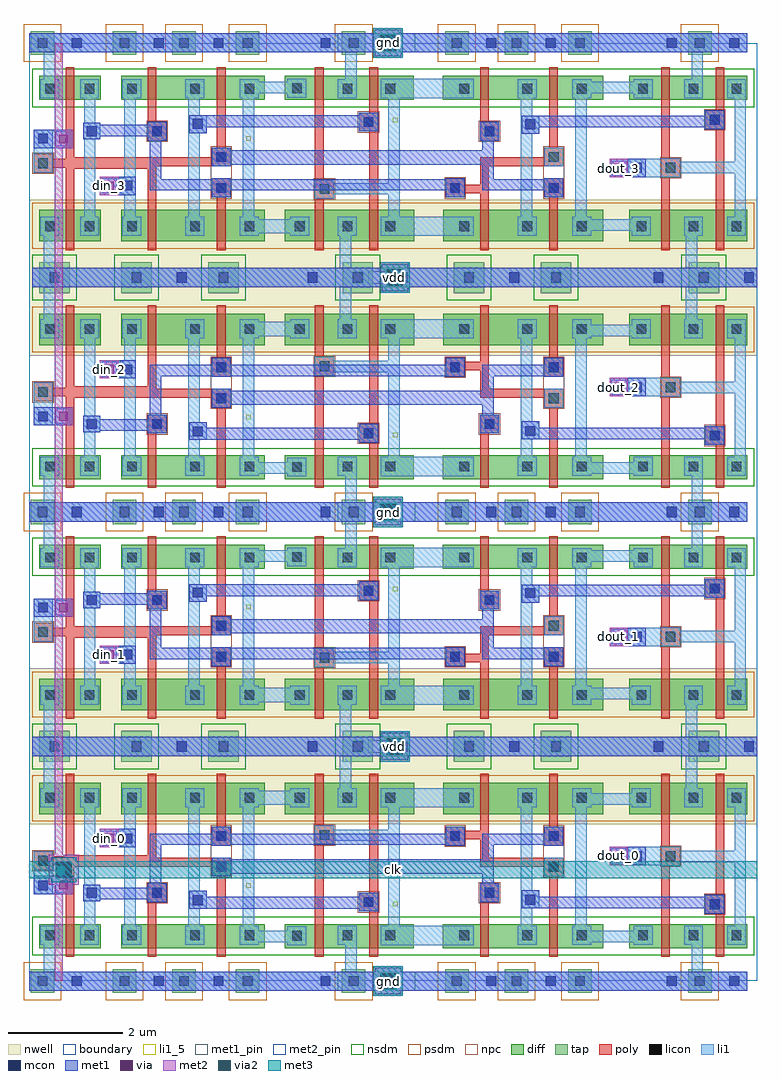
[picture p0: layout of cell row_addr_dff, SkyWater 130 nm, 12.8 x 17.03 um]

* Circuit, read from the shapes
.subckt row_addr_dff clk din_0 din_1 din_2 din_3 dout_0 dout_1 dout_2 dout_3 gnd vdd
XM1 dff_0/clkb clk gnd gnd sky130_fd_pr__nfet_01v8 w=0.42 l=0.15
XM2 dff_1/clkb clk gnd gnd sky130_fd_pr__nfet_01v8 w=0.42 l=0.15
XM3 dff_2/clkb clk gnd gnd sky130_fd_pr__nfet_01v8 w=0.42 l=0.15
XM4 dff_3/clkb clk gnd gnd sky130_fd_pr__nfet_01v8 w=0.42 l=0.15
XM5 dff_0/net1 dff_0/clkb din_0 gnd sky130_fd_pr__nfet_01v8 w=0.42 l=0.15
XM6 dff_1/net1 dff_1/clkb din_1 gnd sky130_fd_pr__nfet_01v8 w=0.42 l=0.15
XM7 dff_2/net1 dff_2/clkb din_2 gnd sky130_fd_pr__nfet_01v8 w=0.42 l=0.15
XM8 dff_3/net1 dff_3/clkb din_3 gnd sky130_fd_pr__nfet_01v8 w=0.42 l=0.15
XM9 dff_0/net2 clk dff_0/net1 gnd sky130_fd_pr__nfet_01v8 w=0.42 l=0.15
XM10 dff_1/net2 clk dff_1/net1 gnd sky130_fd_pr__nfet_01v8 w=0.42 l=0.15
XM11 dff_2/net2 clk dff_2/net1 gnd sky130_fd_pr__nfet_01v8 w=0.42 l=0.15
XM12 dff_3/net2 clk dff_3/net1 gnd sky130_fd_pr__nfet_01v8 w=0.42 l=0.15
XM13 gnd dff_0/net3 dff_0/net2 gnd sky130_fd_pr__nfet_01v8 w=0.42 l=0.15
XM14 gnd dff_1/net3 dff_1/net2 gnd sky130_fd_pr__nfet_01v8 w=0.42 l=0.15
XM15 gnd dff_2/net3 dff_2/net2 gnd sky130_fd_pr__nfet_01v8 w=0.42 l=0.15
XM16 gnd dff_3/net3 dff_3/net2 gnd sky130_fd_pr__nfet_01v8 w=0.42 l=0.15
XM17 dff_0/net3 dff_0/net1 gnd gnd sky130_fd_pr__nfet_01v8 w=0.42 l=0.15
XM18 dff_1/net3 dff_1/net1 gnd gnd sky130_fd_pr__nfet_01v8 w=0.42 l=0.15
XM19 dff_2/net3 dff_2/net1 gnd gnd sky130_fd_pr__nfet_01v8 w=0.42 l=0.15
XM20 dff_3/net3 dff_3/net1 gnd gnd sky130_fd_pr__nfet_01v8 w=0.42 l=0.15
XM21 dff_0/net4 clk dff_0/net3 gnd sky130_fd_pr__nfet_01v8 w=0.42 l=0.15
XM22 dff_1/net4 clk dff_1/net3 gnd sky130_fd_pr__nfet_01v8 w=0.42 l=0.15
XM23 dff_2/net4 clk dff_2/net3 gnd sky130_fd_pr__nfet_01v8 w=0.42 l=0.15
XM24 dff_3/net4 clk dff_3/net3 gnd sky130_fd_pr__nfet_01v8 w=0.42 l=0.15
XM25 dff_0/net5 dff_0/clkb dff_0/net4 gnd sky130_fd_pr__nfet_01v8 w=0.42 l=0.15
XM26 dff_1/net5 dff_1/clkb dff_1/net4 gnd sky130_fd_pr__nfet_01v8 w=0.42 l=0.15
XM27 dff_2/net5 dff_2/clkb dff_2/net4 gnd sky130_fd_pr__nfet_01v8 w=0.42 l=0.15
XM28 dff_3/net5 dff_3/clkb dff_3/net4 gnd sky130_fd_pr__nfet_01v8 w=0.42 l=0.15
XM29 gnd dout_0 dff_0/net5 gnd sky130_fd_pr__nfet_01v8 w=0.42 l=0.15
XM30 gnd dout_1 dff_1/net5 gnd sky130_fd_pr__nfet_01v8 w=0.42 l=0.15
XM31 gnd dout_2 dff_2/net5 gnd sky130_fd_pr__nfet_01v8 w=0.42 l=0.15
XM32 gnd dout_3 dff_3/net5 gnd sky130_fd_pr__nfet_01v8 w=0.42 l=0.15
XM33 dout_0 dff_0/net4 gnd gnd sky130_fd_pr__nfet_01v8 w=0.42 l=0.15
XM34 dout_1 dff_1/net4 gnd gnd sky130_fd_pr__nfet_01v8 w=0.42 l=0.15
XM35 dout_2 dff_2/net4 gnd gnd sky130_fd_pr__nfet_01v8 w=0.42 l=0.15
XM36 dout_3 dff_3/net4 gnd gnd sky130_fd_pr__nfet_01v8 w=0.42 l=0.15
XM37 dff_0/clkb clk vdd vdd sky130_fd_pr__pfet_01v8 w=0.55 l=0.15
XM38 dff_1/clkb clk vdd vdd sky130_fd_pr__pfet_01v8 w=0.55 l=0.15
XM39 dff_2/clkb clk vdd vdd sky130_fd_pr__pfet_01v8 w=0.55 l=0.15
XM40 dff_3/clkb clk vdd vdd sky130_fd_pr__pfet_01v8 w=0.55 l=0.15
XM41 dff_0/net1 clk din_0 vdd sky130_fd_pr__pfet_01v8 w=0.55 l=0.15
XM42 dff_1/net1 clk din_1 vdd sky130_fd_pr__pfet_01v8 w=0.55 l=0.15
XM43 dff_2/net1 clk din_2 vdd sky130_fd_pr__pfet_01v8 w=0.55 l=0.15
XM44 dff_3/net1 clk din_3 vdd sky130_fd_pr__pfet_01v8 w=0.55 l=0.15
XM45 dff_0/net2 dff_0/clkb dff_0/net1 vdd sky130_fd_pr__pfet_01v8 w=0.55 l=0.15
XM46 dff_1/net2 dff_1/clkb dff_1/net1 vdd sky130_fd_pr__pfet_01v8 w=0.55 l=0.15
XM47 dff_2/net2 dff_2/clkb dff_2/net1 vdd sky130_fd_pr__pfet_01v8 w=0.55 l=0.15
XM48 dff_3/net2 dff_3/clkb dff_3/net1 vdd sky130_fd_pr__pfet_01v8 w=0.55 l=0.15
XM49 vdd dff_0/net3 dff_0/net2 vdd sky130_fd_pr__pfet_01v8 w=0.55 l=0.15
XM50 vdd dff_1/net3 dff_1/net2 vdd sky130_fd_pr__pfet_01v8 w=0.55 l=0.15
XM51 vdd dff_2/net3 dff_2/net2 vdd sky130_fd_pr__pfet_01v8 w=0.55 l=0.15
XM52 vdd dff_3/net3 dff_3/net2 vdd sky130_fd_pr__pfet_01v8 w=0.55 l=0.15
XM53 dff_0/net3 dff_0/net1 vdd vdd sky130_fd_pr__pfet_01v8 w=0.55 l=0.15
XM54 dff_1/net3 dff_1/net1 vdd vdd sky130_fd_pr__pfet_01v8 w=0.55 l=0.15
XM55 dff_2/net3 dff_2/net1 vdd vdd sky130_fd_pr__pfet_01v8 w=0.55 l=0.15
XM56 dff_3/net3 dff_3/net1 vdd vdd sky130_fd_pr__pfet_01v8 w=0.55 l=0.15
XM57 dff_0/net4 dff_0/clkb dff_0/net3 vdd sky130_fd_pr__pfet_01v8 w=0.55 l=0.15
XM58 dff_1/net4 dff_1/clkb dff_1/net3 vdd sky130_fd_pr__pfet_01v8 w=0.55 l=0.15
XM59 dff_2/net4 dff_2/clkb dff_2/net3 vdd sky130_fd_pr__pfet_01v8 w=0.55 l=0.15
XM60 dff_3/net4 dff_3/clkb dff_3/net3 vdd sky130_fd_pr__pfet_01v8 w=0.55 l=0.15
XM61 dff_0/net5 clk dff_0/net4 vdd sky130_fd_pr__pfet_01v8 w=0.55 l=0.15
XM62 dff_1/net5 clk dff_1/net4 vdd sky130_fd_pr__pfet_01v8 w=0.55 l=0.15
XM63 dff_2/net5 clk dff_2/net4 vdd sky130_fd_pr__pfet_01v8 w=0.55 l=0.15
XM64 dff_3/net5 clk dff_3/net4 vdd sky130_fd_pr__pfet_01v8 w=0.55 l=0.15
XM65 vdd dout_0 dff_0/net5 vdd sky130_fd_pr__pfet_01v8 w=0.55 l=0.15
XM66 vdd dout_1 dff_1/net5 vdd sky130_fd_pr__pfet_01v8 w=0.55 l=0.15
XM67 vdd dout_2 dff_2/net5 vdd sky130_fd_pr__pfet_01v8 w=0.55 l=0.15
XM68 vdd dout_3 dff_3/net5 vdd sky130_fd_pr__pfet_01v8 w=0.55 l=0.15
XM69 dout_0 dff_0/net4 vdd vdd sky130_fd_pr__pfet_01v8 w=0.55 l=0.15
XM70 dout_1 dff_1/net4 vdd vdd sky130_fd_pr__pfet_01v8 w=0.55 l=0.15
XM71 dout_2 dff_2/net4 vdd vdd sky130_fd_pr__pfet_01v8 w=0.55 l=0.15
XM72 dout_3 dff_3/net4 vdd vdd sky130_fd_pr__pfet_01v8 w=0.55 l=0.15
.ends

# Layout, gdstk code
import gdstk
lib = gdstk.Library(unit=1e-6, precision=1e-09)
def R(c, l, rs):  # rectangles x0, y0, x1, y1
    for r in rs: c.add(gdstk.rectangle(r[:2], r[2:], *l))
nwell = (64, 20)
diff = (65, 20)
tap = (65, 44)
poly = (66, 20)
licon = (66, 44)
li1_5 = (67, 5)
li1 = (67, 20)
mcon = (67, 44)
met1_pin = (68, 16)
met1 = (68, 20)
via = (68, 44)
met2_pin = (69, 16)
met2 = (69, 20)
via2 = (69, 44)
met3 = (70, 20)
nsdm = (93, 44)
psdm = (94, 20)
npc = (95, 20)
boundary = (235, 4)

dff = lib.new_cell('dff')
R(dff, nwell, [(0,2.73,12.71,4.53)])
R(dff, diff, [(0.18,0.57,1.25,0.99), (1.61,0.57,4.11,0.99), (4.46,0.57,6.71,0.99), (7.22,0.57,10.02,0.99), (10.47,0.57,12.53,0.99), (0.18,2.91,1.25,3.46), (1.61,2.91,4.11,3.46), (4.46,2.91,6.72,3.46), (7.23,2.91,10.02,3.46), (10.47,2.91,12.53,3.46)])
R(dff, tap, [(0.03,-0.21,0.44,0.2), (1.46,-0.21,1.87,0.2), (2.5,-0.21,2.91,0.2), (3.61,-0.21,4.02,0.2), (5.46,-0.21,5.87,0.2), (7.26,-0.21,7.67,0.2), (8.3,-0.21,8.71,0.2), (9.41,-0.21,9.82,0.2), (11.5,-0.21,11.91,0.2), (0.18,3.82,0.71,4.35), (1.61,3.82,2.14,4.35), (3.13,3.82,3.66,4.35), (5.47,3.82,6,4.35), (7.41,3.82,7.94,4.35), (8.93,3.82,9.46,4.35), (11.51,3.82,12.04,4.35)])
R(dff, poly, [(0.64,0.42,0.79,1.99), (2.07,0.42,2.22,1.37), (3.28,0.42,3.43,1.82), (4.99,0.42,5.14,2.38), (5.94,0.42,6.09,1.21), (7.87,0.42,8.02,1.37), (9.08,0.42,9.23,1.82), (11.03,0.42,11.18,2.01), (11.98,0.42,12.13,1.17), (11.8,1.17,12.13,1.5), (5.76,1.21,6.09,1.54), (2.07,1.37,2.4,1.7), (7.87,1.37,8.2,1.7), (11.98,1.5,12.13,3.61), (5.94,1.54,6.09,3.61), (3.19,1.82,3.52,1.99), (8.99,1.82,9.32,1.99), (0.08,1.93,0.41,2.02), (0.64,1.99,3.52,2.02), (7.87,1.99,9.32,2.15), (11.03,2.01,11.36,2.34), (0.08,2.02,3.52,2.15), (0.08,2.15,2.22,2.17), (7.87,2.15,8.02,2.47), (0.08,2.17,0.41,2.26), (0.64,2.17,2.22,2.19), (0.64,2.19,0.79,3.61), (2.07,2.19,2.22,3.61), (11.03,2.34,11.18,3.61), (3.19,2.36,3.52,2.69), (7.27,2.36,7.6,2.47), (8.99,2.36,9.32,2.69), (4.99,2.38,5.32,2.71), (7.27,2.47,8.02,2.62), (7.27,2.62,7.6,2.69), (7.87,2.62,8.02,3.61), (3.28,2.69,3.43,3.61), (9.08,2.69,9.23,3.61), (4.99,2.71,5.14,3.61)])
R(dff, licon, [(0.15,-0.09,0.32,0.08), (1.58,-0.09,1.75,0.08), (2.62,-0.09,2.79,0.08), (3.73,-0.09,3.9,0.08), (5.58,-0.09,5.75,0.08), (7.38,-0.09,7.55,0.08), (8.42,-0.09,8.59,0.08), (9.53,-0.09,9.7,0.08), (11.62,-0.09,11.79,0.08), (4.59,0.7,4.76,0.87), (0.28,0.71,0.45,0.88), (0.97,0.71,1.14,0.88), (1.71,0.71,1.88,0.88), (2.81,0.71,2.98,0.88), (3.76,0.71,3.93,0.88), (5.47,0.71,5.64,0.88), (6.22,0.71,6.39,0.88), (7.51,0.71,7.68,0.88), (8.61,0.71,8.78,0.88), (9.56,0.71,9.73,0.88), (10.63,0.71,10.8,0.88), (11.51,0.71,11.68,0.88), (12.26,0.71,12.43,0.88), (11.88,1.25,12.05,1.42), (5.84,1.29,6.01,1.46), (2.15,1.45,2.32,1.62), (7.95,1.45,8.12,1.62), (3.27,1.9,3.44,2.07), (9.07,1.9,9.24,2.07), (0.16,2.01,0.33,2.18), (11.11,2.09,11.28,2.26), (3.27,2.44,3.44,2.61), (7.35,2.44,7.52,2.61), (9.07,2.44,9.24,2.61), (5.07,2.46,5.24,2.63), (0.28,3.11,0.45,3.28), (0.97,3.11,1.14,3.28), (1.71,3.11,1.88,3.28), (2.81,3.11,2.98,3.28), (3.76,3.11,3.93,3.28), (4.64,3.11,4.81,3.28), (5.47,3.11,5.64,3.28), (6.22,3.11,6.39,3.28), (7.51,3.11,7.68,3.28), (8.61,3.11,8.78,3.28), (9.56,3.11,9.73,3.28), (10.6,3.11,10.77,3.28), (11.51,3.11,11.68,3.28), (12.26,3.11,12.43,3.28), (0.36,4,0.53,4.17), (1.79,4,1.96,4.17), (3.31,4,3.48,4.17), (5.65,4,5.82,4.17), (7.59,4,7.76,4.17), (9.11,4,9.28,4.17), (11.69,4,11.86,4.17)])
R(dff, li1_5, [(6.35,1.3,6.43,1.38), (2.89,1.36,2.97,1.43), (8.71,1.36,8.79,1.43), (2.17,1.46,2.28,1.59), (3.79,1.62,3.87,1.7), (9.58,3.12,9.68,3.24)])
R(dff, li1, [(0,-0.17,12.53,0.16), (0.26,0.16,0.46,0.63), (5.52,0.16,5.72,0.63), (11.56,0.16,11.76,0.63), (4.51,0.62,4.84,0.67), (6.14,0.62,7.76,0.96), (0.2,0.63,0.53,0.96), (0.89,0.63,1.22,0.96), (1.63,0.63,1.96,0.96), (2.73,0.63,3.06,0.96), (3.68,0.63,4.01,0.67), (5.39,0.63,5.72,0.96), (8.53,0.63,8.86,0.96), (9.48,0.63,9.81,0.67), (10.55,0.63,10.88,0.67), (11.43,0.63,11.76,0.96), (12.18,0.63,12.51,0.96), (3.68,0.67,4.84,0.87), (9.48,0.67,10.88,0.87), (3.68,0.87,4.01,0.96), (4.51,0.87,4.84,0.95), (9.48,0.87,9.81,0.96), (10.55,0.87,10.88,0.96), (0.96,0.96,1.16,1.39), (1.66,0.96,1.86,2.35), (2.78,0.96,2.98,1.26), (3.73,0.96,3.93,3.03), (6.27,0.96,6.47,2.44), (8.58,0.96,8.78,1.27), (9.53,0.96,9.73,3.03), (12.31,0.96,12.51,2.07), (11.8,1.17,12.13,1.5), (5.76,1.21,6.09,1.54), (2.78,1.26,3.1,1.57), (8.58,1.27,8.9,1.58), (2.07,1.37,2.4,1.7), (7.87,1.37,8.2,1.7), (0.95,1.39,1.24,1.68), (0.08,1.51,0.41,2.26), (2.78,1.57,2.98,3.03), (8.58,1.58,8.78,3.03), (0.96,1.68,1.16,3.03), (3.19,1.82,3.52,2.15), (8.99,1.82,9.32,2.15), (11.03,2.01,11.36,2.02), (10.45,2.02,11.36,2.07), (10.45,2.07,12.51,2.27), (10.45,2.27,11.36,2.34), (12.31,2.27,12.51,3.03), (1.58,2.35,1.86,2.63), (3.19,2.36,3.52,2.69), (7.27,2.36,7.6,2.69), (8.99,2.36,9.32,2.69), (4.99,2.38,5.32,2.44), (4.99,2.44,6.47,2.64), (1.66,2.63,1.86,3.03), (4.99,2.64,5.32,2.71), (6.27,2.64,6.47,3.03), (0.2,3.03,0.53,3.36), (0.89,3.03,1.22,3.36), (1.63,3.03,1.96,3.36), (2.73,3.03,3.06,3.36), (3.68,3.03,4.01,3.07), (4.56,3.03,4.89,3.07), (5.39,3.03,5.72,3.36), (6.14,3.03,7.76,3.36), (8.53,3.03,8.86,3.36), (9.48,3.03,9.81,3.07), (10.52,3.03,10.85,3.07), (11.43,3.03,11.76,3.36), (12.18,3.03,12.51,3.36), (3.68,3.07,4.89,3.32), (9.48,3.07,10.85,3.27), (9.48,3.27,9.81,3.36), (10.52,3.27,10.85,3.36), (3.68,3.32,4.01,3.36), (4.56,3.32,4.89,3.36), (0.26,3.36,0.46,3.92), (5.42,3.36,5.62,3.92), (11.46,3.36,11.66,3.92), (0.06,3.92,12.71,4.25)])
R(dff, mcon, [(0.75,-0.09,0.92,0.08), (2.18,-0.09,2.35,0.08), (3.22,-0.09,3.39,0.08), (5.09,-0.09,5.26,0.08), (6.18,-0.09,6.35,0.08), (7.98,-0.09,8.15,0.08), (9.02,-0.09,9.19,0.08), (11.13,-0.09,11.3,0.08), (12.22,-0.09,12.39,0.08), (11.88,1.25,12.05,1.42), (5.84,1.29,6.01,1.46), (2.86,1.32,3.03,1.49), (8.66,1.33,8.83,1.5), (1.01,1.45,1.18,1.62), (2.15,1.45,2.32,1.62), (7.95,1.45,8.12,1.62), (0.16,1.58,0.33,1.75), (3.27,1.9,3.44,2.07), (10.52,2.09,10.69,2.26), (1.63,2.4,1.8,2.57), (3.27,2.44,3.44,2.61), (7.35,2.44,7.52,2.61), (9.07,2.44,9.24,2.61), (2.58,4,2.75,4.17), (4.86,4,5.03,4.17), (6.44,4,6.61,4.17), (8.38,4,8.55,4.17), (10.9,4,11.07,4.17), (12.48,4,12.65,4.17)])
R(dff, met1_pin, [(5.39,-0.17,6.74,0.16), (5.92,3.98,6.31,4.18)])
R(dff, met1, [(0,-0.17,12.53,0.16), (0,-0.17,12.53,0.16), (11.79,1.17,12.13,1.27), (5.76,1.21,6.09,1.26), (2.8,1.26,6.09,1.47), (8.6,1.27,12.13,1.47), (2.07,1.37,2.4,1.42), (7.87,1.37,8.2,1.7), (0.95,1.39,1.24,1.42), (0.95,1.42,2.4,1.62), (2.8,1.47,3.1,1.57), (5.76,1.47,6.09,1.54), (8.6,1.47,8.9,1.58), (11.79,1.47,12.13,1.5), (0.08,1.51,0.76,1.83), (0.95,1.62,1.24,1.68), (2.07,1.62,2.4,1.7), (2.11,1.7,2.31,2.37), (7.91,1.7,8.11,1.87), (3.19,1.82,3.52,1.87), (3.19,1.87,8.11,2.12), (10.13,2.02,10.76,2.34), (3.19,2.12,3.52,2.15), (7.91,2.12,8.11,2.37), (1.23,2.33,1.86,2.65), (3.19,2.36,3.52,2.37), (7.27,2.36,7.6,2.37), (8.99,2.36,9.32,2.37), (2.11,2.37,7.6,2.57), (7.91,2.37,9.32,2.57), (3.19,2.57,3.52,2.69), (7.27,2.57,7.6,2.69), (8.99,2.57,9.32,2.69), (0.06,3.92,12.71,4.25), (0.06,3.92,12.71,4.25)])
R(dff, via, [(0.525,1.595,0.675,1.745), (10.215,2.105,10.365,2.255), (1.325,2.415,1.475,2.565)])
R(dff, met2_pin, [(0.47,1.54,0.73,1.8), (10.16,2.05,10.42,2.31), (1.27,2.36,1.53,2.62)])
R(dff, met2, [(0.45,1.51,0.76,1.83), (0.45,1.51,0.76,1.83), (10.13,2.02,10.45,2.34), (10.13,2.02,10.45,2.34), (1.23,2.33,1.57,2.65), (1.23,2.33,1.57,2.65)])
R(dff, nsdm, [(0.055,0.445,12.655,1.115), (0.055,3.695,0.835,4.475), (1.485,3.695,2.265,4.475), (3.005,3.695,3.785,4.475), (5.345,3.695,6.125,4.475), (7.285,3.695,8.065,4.475), (8.805,3.695,9.585,4.475), (11.385,3.695,12.165,4.475)])
R(dff, psdm, [(-0.095,-0.335,0.565,0.325), (1.335,-0.335,1.995,0.325), (2.375,-0.335,3.035,0.325), (3.485,-0.335,4.145,0.325), (5.335,-0.335,5.995,0.325), (7.135,-0.335,7.795,0.325), (8.175,-0.335,8.835,0.325), (9.285,-0.335,9.945,0.325), (11.375,-0.335,12.035,0.325), (0.055,2.785,12.655,3.585)])
R(dff, npc, [(11.78,1.15,12.15,1.52), (5.74,1.19,6.11,1.56), (2.05,1.35,2.42,1.72), (7.85,1.35,8.22,1.72), (3.17,1.8,3.54,2.71), (8.97,1.8,9.34,2.71), (0.06,1.91,0.43,2.28), (11.01,1.99,11.38,2.36), (7.25,2.34,7.62,2.71), (4.97,2.36,5.34,2.73)])
R(dff, boundary, [(0,0,12.71,4.09)])
dff.add(gdstk.Label('net1', (2.93,1.395), layer=67, texttype=5))
dff.add(gdstk.Label('net2', (3.83,1.66), layer=67, texttype=5))
dff.add(gdstk.Label('net3', (6.39,1.34), layer=67, texttype=5))
dff.add(gdstk.Label('net4', (8.75,1.395), layer=67, texttype=5))
dff.add(gdstk.Label('net5', (9.63,3.18), layer=67, texttype=5))
dff.add(gdstk.Label('clkb', (2.225,1.525), layer=67, texttype=5))
dff.add(gdstk.Label('D', (1.4,2.49), layer=69, texttype=16))
dff.add(gdstk.Label('Q', (10.29,2.18), layer=69, texttype=16))
dff.add(gdstk.Label('clk', (0.6,1.67), layer=69, texttype=16))
dff.add(gdstk.Label('vdd', (6.115,4.08), layer=68, texttype=16))
dff.add(gdstk.Label('gnd', (6.065,-0.005), layer=68, texttype=16))
dff.add(gdstk.Label('D', (1.4,2.49), layer=69, texttype=20))
dff.add(gdstk.Label('Q', (10.29,2.18), layer=69, texttype=20))
dff.add(gdstk.Label('clk', (0.605,1.67), layer=69, texttype=20))
dff.add(gdstk.Label('vdd', (6.385,4.085), layer=68, texttype=20))
dff.add(gdstk.Label('gnd', (6.265,-0.005), layer=68, texttype=20))

contact_6 = lib.new_cell('contact_6')
R(contact_6, met1, [(0,0,0.46,0.46)])
R(contact_6, via, [(0.1,0.1,0.36,0.36)])
R(contact_6, met2, [(0,0,0.46,0.46)])
R(contact_6, boundary, [(0,0,0.46,0.46)])

contact_7 = lib.new_cell('contact_7')
R(contact_7, met2, [(0,0,0.52,0.52)])
R(contact_7, via2, [(0.12,0.12,0.4,0.4)])
R(contact_7, met3, [(0.04,0.04,0.48,0.48)])
R(contact_7, boundary, [(0,0,0.52,0.52)])

row_addr_dff = lib.new_cell('row_addr_dff')
R(row_addr_dff, met2, [(0.45,0,0.59,16.36), (10.13,2.02,10.45,2.34), (1.23,2.33,1.57,2.65), (1.23,5.53,1.57,5.85), (10.13,5.84,10.45,6.16), (10.13,10.2,10.45,10.52), (1.23,10.51,1.57,10.83), (1.23,13.71,1.57,14.03), (10.13,14.02,10.45,14.34)])
R(row_addr_dff, met3, [(6.005,-0.265,6.525,0.255), (0,1.79,12.71,2.09), (6.125,3.825,6.645,4.345), (6.125,3.835,6.645,4.355), (6.005,7.915,6.525,8.435), (6.005,7.925,6.525,8.445), (6.125,12.005,6.645,12.525), (6.125,12.015,6.645,12.535), (6.005,16.105,6.525,16.625)])
R(row_addr_dff, boundary, [(0,0,12.71,16.36)])
row_addr_dff.add(gdstk.Reference(dff, (0,0)))
row_addr_dff.add(gdstk.Reference(dff, (0,8.18), x_reflection=True))
row_addr_dff.add(gdstk.Reference(dff, (0,8.18)))
row_addr_dff.add(gdstk.Reference(dff, (0,16.36), x_reflection=True))
row_addr_dff.add(gdstk.Reference(contact_6, (6.155,3.855)))
row_addr_dff.add(gdstk.Reference(contact_7, (6.125,3.825)))
row_addr_dff.add(gdstk.Reference(contact_6, (6.035,-0.235)))
row_addr_dff.add(gdstk.Reference(contact_7, (6.005,-0.265)))
row_addr_dff.add(gdstk.Reference(contact_6, (6.155,3.865)))
row_addr_dff.add(gdstk.Reference(contact_7, (6.125,3.835)))
row_addr_dff.add(gdstk.Reference(contact_6, (6.035,7.955)))
row_addr_dff.add(gdstk.Reference(contact_7, (6.005,7.925)))
row_addr_dff.add(gdstk.Reference(contact_6, (6.155,12.035)))
row_addr_dff.add(gdstk.Reference(contact_7, (6.125,12.005)))
row_addr_dff.add(gdstk.Reference(contact_6, (6.035,7.945)))
row_addr_dff.add(gdstk.Reference(contact_7, (6.005,7.915)))
row_addr_dff.add(gdstk.Reference(contact_6, (6.155,12.045)))
row_addr_dff.add(gdstk.Reference(contact_7, (6.125,12.015)))
row_addr_dff.add(gdstk.Reference(contact_6, (6.035,16.135)))
row_addr_dff.add(gdstk.Reference(contact_7, (6.005,16.105)))
row_addr_dff.add(gdstk.Reference(contact_7, (0.345,1.68)))
row_addr_dff.add(gdstk.Label('vdd', (6.385,12.275), layer=70, texttype=20))
row_addr_dff.add(gdstk.Label('vdd', (6.385,4.095), layer=70, texttype=20))
row_addr_dff.add(gdstk.Label('vdd', (6.385,12.265), layer=70, texttype=20))
row_addr_dff.add(gdstk.Label('vdd', (6.385,4.085), layer=70, texttype=20))
row_addr_dff.add(gdstk.Label('gnd', (6.265,8.175), layer=70, texttype=20))
row_addr_dff.add(gdstk.Label('gnd', (6.265,-0.005), layer=70, texttype=20))
row_addr_dff.add(gdstk.Label('gnd', (6.265,16.365), layer=70, texttype=20))
row_addr_dff.add(gdstk.Label('gnd', (6.265,8.185), layer=70, texttype=20))
row_addr_dff.add(gdstk.Label('din_0', (1.4,2.49), layer=69, texttype=20))
row_addr_dff.add(gdstk.Label('dout_0', (10.29,2.18), layer=69, texttype=20))
row_addr_dff.add(gdstk.Label('din_1', (1.4,5.69), layer=69, texttype=20))
row_addr_dff.add(gdstk.Label('dout_1', (10.29,6), layer=69, texttype=20))
row_addr_dff.add(gdstk.Label('din_2', (1.4,10.67), layer=69, texttype=20))
row_addr_dff.add(gdstk.Label('dout_2', (10.29,10.36), layer=69, texttype=20))
row_addr_dff.add(gdstk.Label('din_3', (1.4,13.87), layer=69, texttype=20))
row_addr_dff.add(gdstk.Label('dout_3', (10.29,14.18), layer=69, texttype=20))
row_addr_dff.add(gdstk.Label('clk', (6.355,1.94), layer=70, texttype=20))

lib.write_gds('row_addr_dff.gds')
